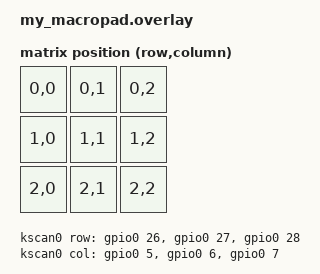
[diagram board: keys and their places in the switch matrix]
/*
 * Copyright (c) 2024 The ZMK Contributors
 *
 * SPDX-License-Identifier: MIT
 */

#include <dt-bindings/zmk/matrix_transform.h>
#include <physical_layouts.dtsi>

/ {
    chosen {
        zmk,kscan = &kscan0;
        zmk,physical-layout = &physical_layout;
    };

    default_transform: keymap_transform_0 {
        compatible = "zmk,matrix-transform";
        columns = <3>;
        rows = <3>;
        map = <
            RC(0,0) RC(0,1) RC(0,2)
            RC(1,0) RC(1,1) RC(1,2)
            RC(2,0) RC(2,1) RC(2,2)
        >;
    };

    physical_layout: physical_layout {
        compatible = "zmk,physical-layout";
        display-name = "Default";
        transform = <&default_transform>;
        kscan = <&kscan0>;

        keys  //                     w   h    x    y
            = <&key_physical_attrs 100 100    0    0 0 0 0>
            , <&key_physical_attrs 100 100  100    0 0 0 0>
            , <&key_physical_attrs 100 100  200    0 0 0 0>
            , <&key_physical_attrs 100 100    0  100 0 0 0>
            , <&key_physical_attrs 100 100  100  100 0 0 0>
            , <&key_physical_attrs 100 100  200  100 0 0 0>
            , <&key_physical_attrs 100 100    0  200 0 0 0>
            , <&key_physical_attrs 100 100  100  200 0 0 0>
            , <&key_physical_attrs 100 100  200  200 0 0 0>
            ;
    };

    kscan0: kscan {
        compatible = "zmk,kscan-gpio-matrix";
        wakeup-source;

        diode-direction = "col2row";

        row-gpios
            = <&gpio0 26 (GPIO_ACTIVE_HIGH | GPIO_PULL_DOWN)>
            , <&gpio0 27 (GPIO_ACTIVE_HIGH | GPIO_PULL_DOWN)>
            , <&gpio0 28 (GPIO_ACTIVE_HIGH | GPIO_PULL_DOWN)>
            ;

        col-gpios
            = <&gpio0 5 GPIO_ACTIVE_HIGH>
            , <&gpio0 6 GPIO_ACTIVE_HIGH>
            , <&gpio0 7 GPIO_ACTIVE_HIGH>
            ;
    };
};
